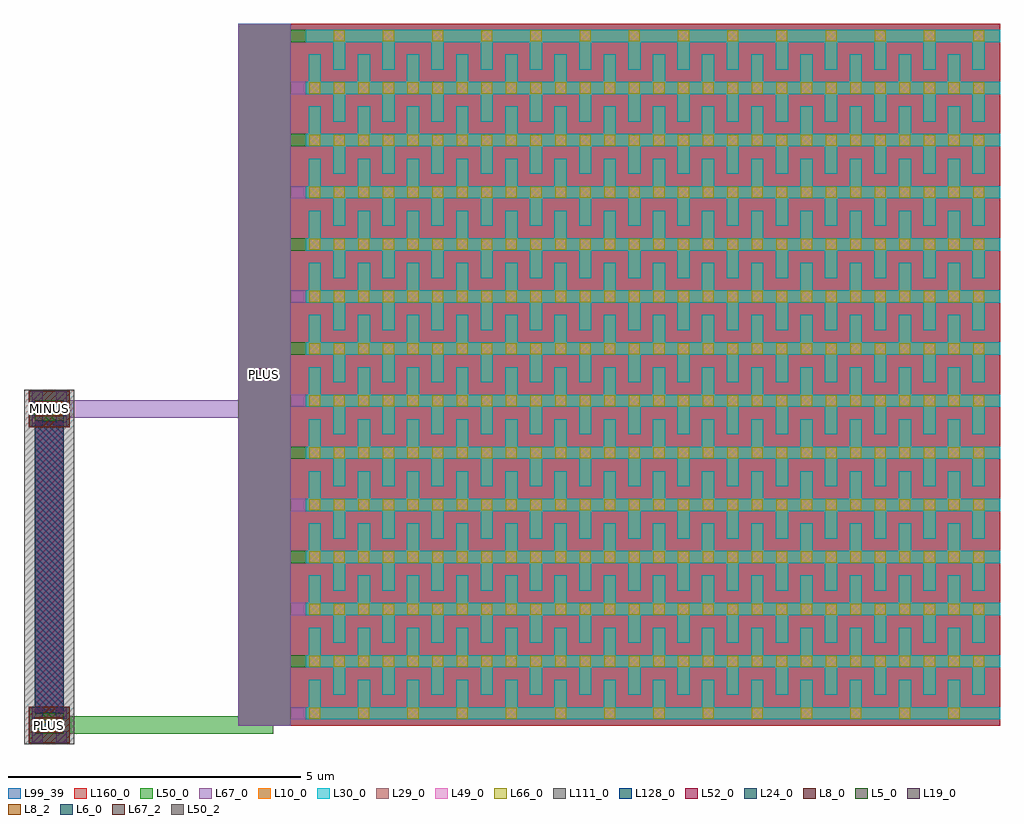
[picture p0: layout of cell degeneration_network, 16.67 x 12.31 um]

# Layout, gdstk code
import gdstk
lib = gdstk.Library(unit=1e-6, precision=1e-09)
def R(c, l, rs):  # rectangles x0, y0, x1, y1
    for r in rs: c.add(gdstk.rectangle(r[:2], r[2:], *l))
def A(c, l, x, y, w, h, nx, ny, dx, dy):  # array of equal rectangles
    R(c, l, [(x+i*dx, y+j*dy, x+i*dx+w, y+j*dy+h) for i in range(nx) for j in range(ny)])
L5_0 = (5, 0)
L6_0 = (6, 0)
L8_0 = (8, 0)
L8_2 = (8, 2)
L10_0 = (10, 0)
L19_0 = (19, 0)
L24_0 = (24, 0)
L29_0 = (29, 0)
L30_0 = (30, 0)
L49_0 = (49, 0)
L50_0 = (50, 0)
L50_2 = (50, 2)
L52_0 = (52, 0)
L66_0 = (66, 0)
L67_0 = (67, 0)
L67_2 = (67, 2)
L99_39 = (99, 39)
L111_0 = (111, 0)
L128_0 = (128, 0)
L160_0 = (160, 0)

rsil_degen_n = lib.new_cell('rsil_degen_n')
R(rsil_degen_n, L5_0, [(0,-0.35,0.5,0), (0,5,0.5,5.35)])
R(rsil_degen_n, L6_0, [(0.07,-0.28,0.43,-0.12), (0.07,5.12,0.43,5.28)])
R(rsil_degen_n, L8_0, [(0.02,-0.33,0.48,-0.07), (0.02,5.07,0.48,5.33)])
R(rsil_degen_n, L8_2, [(0.02,-0.33,0.48,-0.07), (0.02,5.07,0.48,5.33)])
R(rsil_degen_n, L24_0, [(0,0,0.5,5)])
R(rsil_degen_n, L52_0, [(0,0,0.5,5)])
R(rsil_degen_n, L111_0, [(-0.18,-0.53,0.68,0), (-0.18,0,0.68,5), (-0.18,0,0.68,5.53)])
R(rsil_degen_n, L128_0, [(0,0,0.5,5)])
rsil_degen_n.add(gdstk.Label('rsil r=86.6', (0.25,2.5), layer=63, texttype=0))
rsil_degen_n.add(gdstk.Label('rsil', (0.25,2.5), layer=52, texttype=0))

cmomi_cs_n = lib.new_cell('cmomi_cs_n')
A(cmomi_cs_n, L10_0, -0.05, -0.105, 11.86, 0.21, 1, 14, 0, 0.89)
A(cmomi_cs_n, L10_0, 0, 0, 0.21, 0.575, 14, 13, 0.84, 0.89)
A(cmomi_cs_n, L10_0, 0.42, 0.315, 0.21, 0.575, 14, 13, 0.84, 0.89)
A(cmomi_cs_n, L29_0, 0.01, -0.095, 0.19, 0.19, 14, 1, 0.84, 0)
A(cmomi_cs_n, L29_0, 0.01, 0.795, 0.19, 0.19, 28, 12, 0.42, 0.89)
A(cmomi_cs_n, L29_0, 0.43, 11.475, 0.19, 0.19, 14, 1, 0.84, 0)
A(cmomi_cs_n, L30_0, -0.05, -0.105, 11.86, 0.21, 1, 14, 0, 0.89)
A(cmomi_cs_n, L30_0, 0, 0, 0.21, 0.575, 14, 13, 0.84, 0.89)
A(cmomi_cs_n, L30_0, 0.42, 0.315, 0.21, 0.575, 14, 13, 0.84, 0.89)
A(cmomi_cs_n, L49_0, 0.01, -0.095, 0.19, 0.19, 14, 1, 0.84, 0)
A(cmomi_cs_n, L49_0, 0.01, 0.795, 0.19, 0.19, 28, 12, 0.42, 0.89)
A(cmomi_cs_n, L49_0, 0.43, 11.475, 0.19, 0.19, 14, 1, 0.84, 0)
A(cmomi_cs_n, L50_0, -0.05, -0.105, 11.86, 0.21, 1, 7, 0, 1.78)
A(cmomi_cs_n, L50_0, 0, 0, 0.21, 0.575, 14, 13, 0.84, 0.89)
A(cmomi_cs_n, L50_0, 0.42, 0.315, 0.21, 0.575, 14, 13, 0.84, 0.89)
A(cmomi_cs_n, L50_0, -1.2, 0.785, 13.01, 0.21, 1, 7, 0, 1.78)
R(cmomi_cs_n, L50_0, [(-1.2,-0.21,-0.3,11.78)])
R(cmomi_cs_n, L50_2, [(-0.85,5.68,-0.65,5.89)])
A(cmomi_cs_n, L66_0, 0.01, -0.095, 0.19, 0.19, 14, 1, 0.84, 0)
A(cmomi_cs_n, L66_0, 0.01, 0.795, 0.19, 0.19, 28, 12, 0.42, 0.89)
A(cmomi_cs_n, L66_0, 0.43, 11.475, 0.19, 0.19, 14, 1, 0.84, 0)
A(cmomi_cs_n, L67_0, -1.2, -0.105, 13.01, 0.21, 1, 7, 0, 1.78)
A(cmomi_cs_n, L67_0, 0, 0, 0.21, 0.575, 14, 13, 0.84, 0.89)
A(cmomi_cs_n, L67_0, 0.42, 0.315, 0.21, 0.575, 14, 13, 0.84, 0.89)
A(cmomi_cs_n, L67_0, -0.05, 0.785, 11.86, 0.21, 1, 7, 0, 1.78)
R(cmomi_cs_n, L67_0, [(-1.2,-0.21,-0.3,11.78)])
R(cmomi_cs_n, L67_2, [(-0.85,5.68,-0.65,5.89)])
R(cmomi_cs_n, L99_39, [(-1.2,-0.21,11.81,11.78)])
R(cmomi_cs_n, L160_0, [(-1.2,-0.21,11.81,11.78)])
cmomi_cs_n.add(gdstk.Label('cap_cmomi C=151.390fF', (-1.2,-0.71), layer=63, texttype=0))

via_m1_metal4_plus = lib.new_cell('via_m1_metal4_PLUS')
R(via_m1_metal4_plus, L8_0, [(-0.35,-0.31,0.35,0.31)])
R(via_m1_metal4_plus, L10_0, [(-0.35,-0.305,0.35,0.305)])
R(via_m1_metal4_plus, L19_0, [(-0.3,-0.3,-0.11,-0.11), (0.11,-0.3,0.3,-0.11), (-0.3,0.11,-0.11,0.3), (0.11,0.11,0.3,0.3)])
R(via_m1_metal4_plus, L29_0, [(-0.3,-0.3,-0.11,-0.11), (0.11,-0.3,0.3,-0.11), (-0.3,0.11,-0.11,0.3), (0.11,0.11,0.3,0.3)])
R(via_m1_metal4_plus, L30_0, [(-0.35,-0.305,0.35,0.305)])
R(via_m1_metal4_plus, L49_0, [(-0.3,-0.3,-0.11,-0.11), (0.11,-0.3,0.3,-0.11), (-0.3,0.11,-0.11,0.3), (0.11,0.11,0.3,0.3)])
R(via_m1_metal4_plus, L50_0, [(-0.35,-0.305,0.35,0.305)])

via_m1_metal5_minus = lib.new_cell('via_m1_metal5_MINUS')
R(via_m1_metal5_minus, L8_0, [(-0.35,-0.31,0.35,0.31)])
R(via_m1_metal5_minus, L10_0, [(-0.35,-0.305,0.35,0.305)])
R(via_m1_metal5_minus, L19_0, [(-0.3,-0.3,-0.11,-0.11), (0.11,-0.3,0.3,-0.11), (-0.3,0.11,-0.11,0.3), (0.11,0.11,0.3,0.3)])
R(via_m1_metal5_minus, L29_0, [(-0.3,-0.3,-0.11,-0.11), (0.11,-0.3,0.3,-0.11), (-0.3,0.11,-0.11,0.3), (0.11,0.11,0.3,0.3)])
R(via_m1_metal5_minus, L30_0, [(-0.35,-0.305,0.35,0.305)])
R(via_m1_metal5_minus, L49_0, [(-0.3,-0.3,-0.11,-0.11), (0.11,-0.3,0.3,-0.11), (-0.3,0.11,-0.11,0.3), (0.11,0.11,0.3,0.3)])
R(via_m1_metal5_minus, L50_0, [(-0.35,-0.305,0.35,0.305)])
R(via_m1_metal5_minus, L66_0, [(-0.3,-0.3,-0.11,-0.11), (0.11,-0.3,0.3,-0.11), (-0.3,0.11,-0.11,0.3), (0.11,0.11,0.3,0.3)])
R(via_m1_metal5_minus, L67_0, [(-0.35,-0.305,0.35,0.305)])

degeneration_network = lib.new_cell('degeneration_network')
R(degeneration_network, L50_0, [(0.1,-0.35,4.08,-0.05), (3.78,-0.35,4.08,5.935)])
R(degeneration_network, L67_0, [(0.1,5.05,4.08,5.35), (3.78,5.05,4.08,5.935)])
degeneration_network.add(gdstk.Reference(rsil_degen_n, (0,0)))
degeneration_network.add(gdstk.Reference(cmomi_cs_n, (4.68,0)))
degeneration_network.add(gdstk.Reference(via_m1_metal4_plus, (0.25,-0.2)))
degeneration_network.add(gdstk.Reference(via_m1_metal5_minus, (0.25,5.2)))
degeneration_network.add(gdstk.Label('PLUS', (0.25,-0.2), layer=8, texttype=25))
degeneration_network.add(gdstk.Label('MINUS', (0.25,5.2), layer=8, texttype=25))
degeneration_network.add(gdstk.Label('PLUS', (3.93,5.785), layer=50, texttype=25))
degeneration_network.add(gdstk.Label('MINUS', (3.93,5.785), layer=67, texttype=25))

lib.write_gds('degeneration_network.gds')
